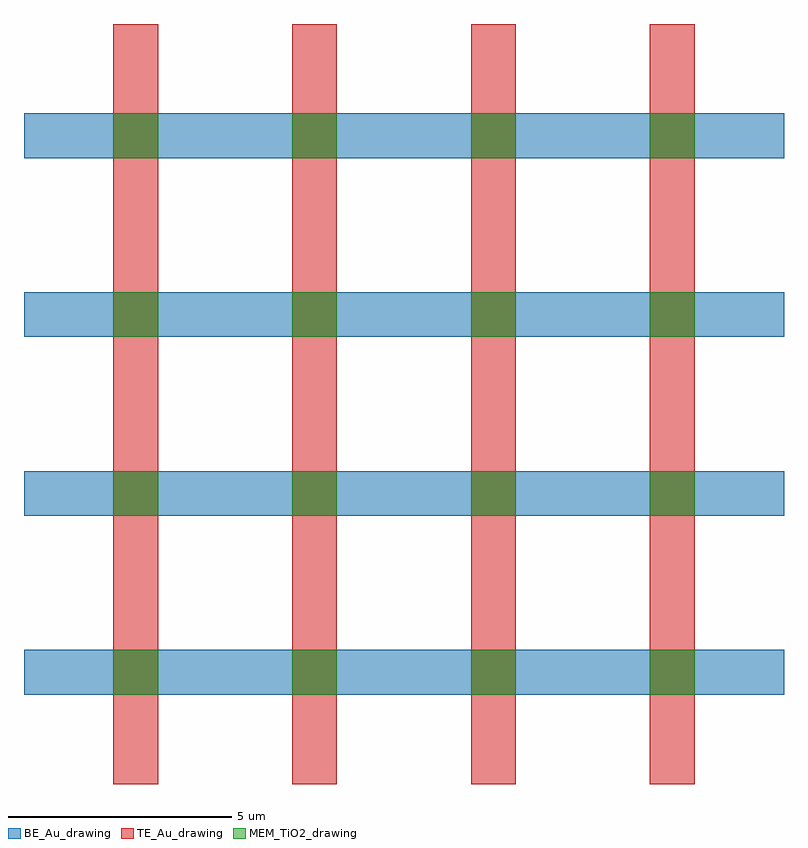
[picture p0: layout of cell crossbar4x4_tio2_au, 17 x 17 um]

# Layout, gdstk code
import gdstk
lib = gdstk.Library(unit=1e-6, precision=1e-09)
def R(c, l, rs):  # rectangles x0, y0, x1, y1
    for r in rs: c.add(gdstk.rectangle(r[:2], r[2:], *l))
def A(c, l, x, y, w, h, nx, ny, dx, dy):  # array of equal rectangles
    R(c, l, [(x+i*dx, y+j*dy, x+i*dx+w, y+j*dy+h) for i in range(nx) for j in range(ny)])
BE_Au_drawing = (10, 0)
MEM_TiO2_drawing = (11, 0)
TE_Au_drawing = (20, 0)

crossbar4x4_tio2_au = lib.new_cell('crossbar4x4_tio2_au')
A(crossbar4x4_tio2_au, BE_Au_drawing, 0, 2, 17, 1, 1, 4, 0, 4)
A(crossbar4x4_tio2_au, MEM_TiO2_drawing, 2, 2, 1, 1, 4, 4, 4, 4)
A(crossbar4x4_tio2_au, TE_Au_drawing, 2, 0, 1, 17, 4, 1, 4, 0)

lib.write_gds('crossbar4x4_tio2_au.gds')
